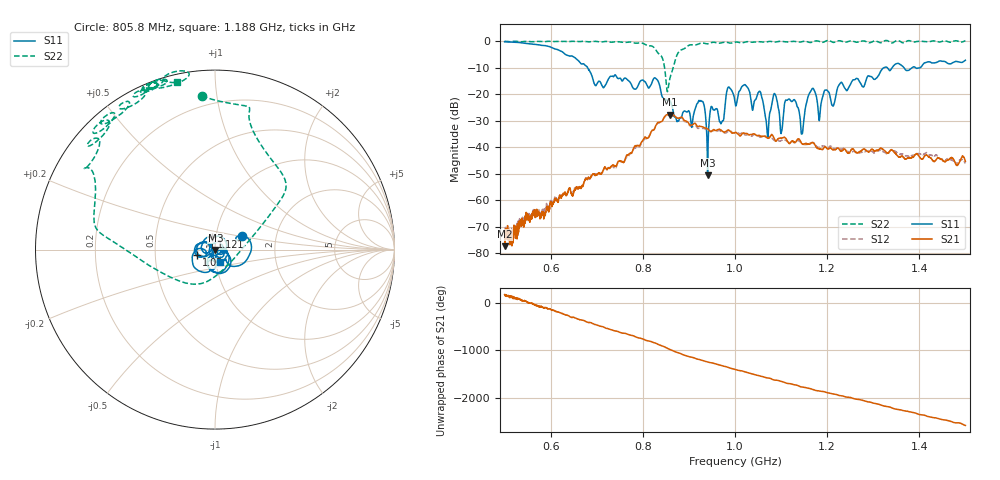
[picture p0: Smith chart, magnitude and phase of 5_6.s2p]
!Agilent Technologies,E8364B,US42250235,A.06.04.32
!Agilent E8364B: A.06.04.32
!Date: Thursday, October 01, 2020 16:09:19
!Correction: S11(Full 2 Port(1,2)) S21(Full 2 Port(1,2)) S12(Full 2 Port(1,2)) S22(Full 2 Port(1,2))
!S2P File: Measurements: S11, S21, S12, S22:
# Hz S  dB  R 50
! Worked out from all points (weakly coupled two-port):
!   2650 points, 500 MHz to 1.5 GHz, reference 50 ohm
!   highest |S21| = -27.70 dB at 858.2 MHz (marker M1); lowest = -77.3 dB at 500.8 MHz (marker M2)
!   lowest |S11| = -50.6 dB at 940.5 MHz (marker M3), VSWR 1.01, Z = 50.2 - j0.212 ohm
!   |S11| at or under -10 dB: 680.2 MHz to 1.323 GHz (642.9 MHz wide, 64.2 % of centre); 1.331 GHz to 1.341 GHz (10.32 MHz wide, 0.772 % of centre); 1.367 GHz to 1.385 GHz (17.9 MHz wide, 1.3 % of centre) (the widest 3 of 4)
!   |S22| runs from -19.0 to 0.3 dB; largest |S21 - S12| = 0.0034
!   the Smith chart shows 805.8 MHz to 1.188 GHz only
!   S11 on the Smith chart (normalised r, x): 805.8 MHz: 1.34, +0.21; 1.05 GHz: 0.81, -0.05; 1.121 GHz: 0.95, +0.14; 1.188 GHz: 1.05, -0.14
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5e8  -0.22 -175.0  -72.38 167.4  -72.40 176.8  -0.02 143.0
5.00755e8  -0.23 -175.4  -77.30 167.9  -75.42 158.2  -0.02 143.4
5.962627e8  -1.97 122.1  -62.70 -131.1  -63.49 -125.5  -0.03 129.3
6.668554e8  -8.57 70.4  -55.03 -5.7  -54.96 -3.5  -0.08 125.2
8.057758e8  -15.46 26.3  -36.19 -71.6  -36.56 -71.0  -1.32 94.9
8.337108e8  -15.27 -27.8  -30.57 -163.5  -30.80 -165.2  -4.63 56.4
8.582484e8  -22.39 -69.6  -27.70 95.0  -27.93 92.5  -14.36 -107.1
8.808985e8  -28.85 103.3  -28.82 10.1  -29.03 6.1  -3.53 170.4
9.273311e8  -22.61 -49.7  -32.23 -133.0  -32.91 -133.7  -0.71 138.4
9.405436e8  -50.58 -45.5  -33.05 -171.3  -33.60 -171.8  -1.00 134.8
9.858437e8  -17.28 -67.5  -33.50 72.6  -33.94 73.9  -0.56 131.7
1.000189e9  -23.20 -117.3  -34.42 34.7  -34.59 34.4  -0.36 120.6
1.050396e9  -19.39 -162.6  -35.48 -95.7  -35.82 -97.3  -0.18 113.4
1.069649e9  -34.25 154.7  -36.42 -145.3  -36.23 -143.2  -0.25 109.1
1.085126e9  -19.75 -174.9  -36.74 168.6  -37.38 174.1  -0.31 112.7
1.100604e9  -34.31 171.2  -36.55 139.1  -37.47 143.7  -0.05 113.1
1.121367e9  -22.54 104.7  -38.00 90.2  -37.96 92.5  -0.12 107.3
1.145904e9  -34.90 -17.2  -38.79 22.4  -38.77 28.6  -0.15 105.9
1.166667e9  -18.16 -65.5  -38.29 -22.0  -38.32 -18.6  -0.39 101.1
1.187807e9  -22.68 -68.5  -40.79 -68.7  -39.59 -65.7  -0.40 102.7
1.333522e9  -10.70 -152.8  -41.95 -33.7  -42.17 -33.2  -0.04 97.9
1.5e9  -7.20 144.5  -45.35 -67.4  -46.14 -73.9  0.19 71.3
